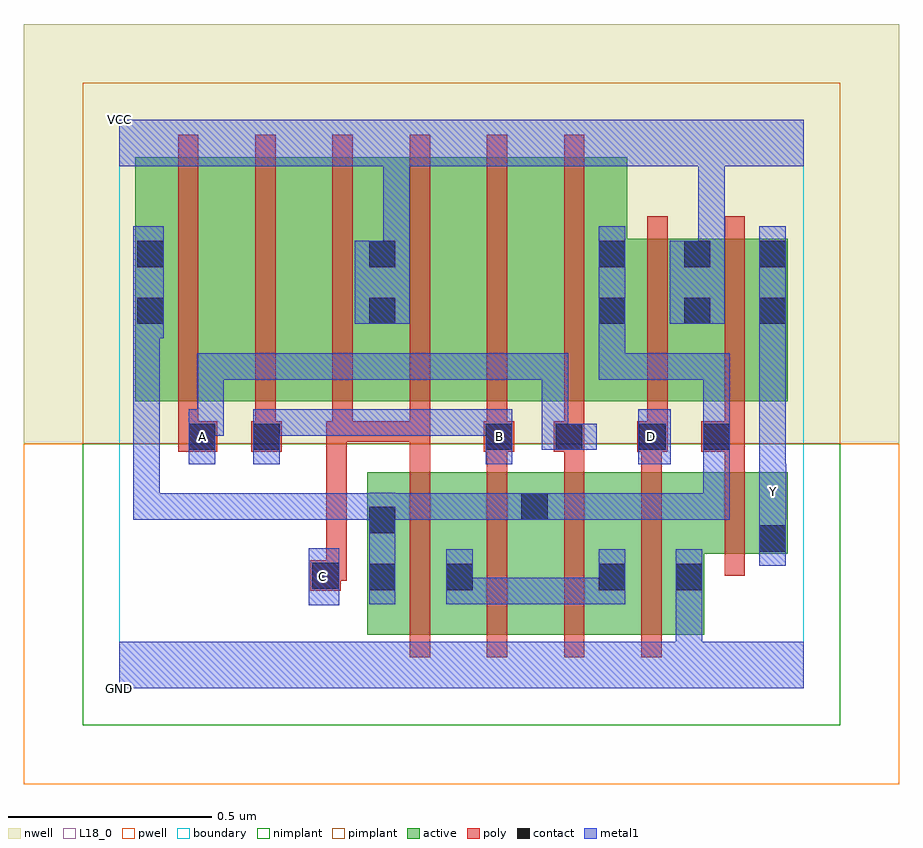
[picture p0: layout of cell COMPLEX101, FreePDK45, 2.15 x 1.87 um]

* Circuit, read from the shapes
.subckt COMPLEX101 A B C D GND VCC Y
M1 n1 C n2 VSUBS nfet w=0.4u l=0.05u
M2 n2 B n1 VSUBS nfet w=0.4u l=0.05u
M3 n1 A n2 VSUBS nfet w=0.4u l=0.05u
M4 GND D n1 VSUBS nfet w=0.4u l=0.05u
M5 Y n2 GND VSUBS nfet w=0.2u l=0.05u
M6 n3 A n2 n4 pfet w=0.6u l=0.05u
M7 n5 B n3 n4 pfet w=0.6u l=0.05u
M8 VCC C n5 n4 pfet w=0.6u l=0.05u
M9 n6 C VCC n4 pfet w=0.6u l=0.05u
M10 n7 B n6 n4 pfet w=0.6u l=0.05u
M11 n2 A n7 n4 pfet w=0.6u l=0.05u
M12 VCC D n2 n4 pfet w=0.4u l=0.05u
M13 Y n2 VCC n4 pfet w=0.4u l=0.05u
.ends

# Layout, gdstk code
import gdstk
lib = gdstk.Library(unit=1e-6, precision=1e-09)
def R(c, l, rs):  # rectangles x0, y0, x1, y1
    for r in rs: c.add(gdstk.rectangle(r[:2], r[2:], *l))
def A(c, l, x, y, w, h, nx, ny, dx, dy):  # array of equal rectangles
    R(c, l, [(x+i*dx, y+j*dy, x+i*dx+w, y+j*dy+h) for i in range(nx) for j in range(ny)])
active = (1, 0)
pwell = (2, 0)
nwell = (3, 0)
nimplant = (4, 0)
pimplant = (5, 0)
poly = (9, 0)
contact = (10, 0)
metal1 = (11, 0)
L18_0 = (18, 0)
boundary = (235, 0)

complex101 = lib.new_cell('COMPLEX101')
R(complex101, active, [(0.61,0.132,0.875,0.532), (0.8,0.132,1.06,0.532), (0.985,0.132,1.25,0.532), (1.175,0.132,1.44,0.532), (0.61,0.147,0.685,0.532), (0.8,0.147,0.875,0.492), (0.985,0.147,1.06,0.492), (1.175,0.147,1.25,0.492), (1.365,0.237,1.44,0.397), (1.365,0.332,1.645,0.532), (1.57,0.332,1.645,0.532), (0.04,0.707,0.265,1.307), (0.04,0.707,0.145,1.2), (0.265,0.707,0.455,1.307), (0.455,0.707,0.685,1.307), (0.61,0.707,0.835,1.307), (0.61,0.707,0.685,1.257), (0.835,0.707,1.025,1.307), (1.025,0.707,1.25,1.307), (1.175,0.707,1.46,1.107), (1.175,0.707,1.25,1.2), (1.385,0.707,1.645,1.107), (1.57,0.707,1.645,1.107), (1.385,0.802,1.46,1.107)])
R(complex101, pwell, [(-0.235,-0.235,1.92,0.602)])
R(complex101, nwell, [(-0.235,0.602,1.92,1.635)])
R(complex101, nimplant, [(-0.09,-0.09,1.775,0.602)])
R(complex101, pimplant, [(-0.09,0.602,1.775,1.49)])
A(complex101, poly, 0.715, 0.077, 0.05, 0.51, 4, 1, 0.19, 0)
A(complex101, poly, 0.905, 0.537, 0.05, 0.095, 3, 1, 0.19, 0)
A(complex101, poly, 0.145, 0.607, 0.05, 0.095, 6, 1, 0.19, 0)
A(complex101, poly, 0.145, 0.652, 0.05, 0.71, 6, 1, 0.19, 0)
R(complex101, poly, [(0.47,0.24,0.545,0.315), (0.495,0.265,0.545,0.315), (0.495,0.265,0.56,0.315), (0.51,0.265,0.56,0.657), (1.49,0.277,1.54,0.587), (0.715,0.537,0.765,0.657), (1.49,0.537,1.54,0.632), (0.145,0.582,0.242,0.657), (0.325,0.582,0.4,0.657), (0.897,0.582,0.972,0.657), (1.07,0.582,1.145,0.657), (1.275,0.582,1.35,0.657), (1.432,0.582,1.54,0.657), (0.51,0.607,0.575,0.657), (0.525,0.607,0.765,0.657), (0.525,0.607,0.575,0.657), (0.525,0.607,0.575,0.657), (0.715,0.607,0.765,0.657), (1.3,0.607,1.35,0.702), (1.49,0.607,1.54,0.702), (1.3,0.652,1.35,1.162), (1.49,0.652,1.54,1.162)])
R(complex101, contact, [(0.615,0.242,0.68,0.307), (0.805,0.242,0.87,0.307), (1.18,0.242,1.245,0.307), (1.37,0.242,1.435,0.307), (0.475,0.245,0.54,0.31), (1.575,0.337,1.64,0.402), (0.615,0.382,0.68,0.447), (0.99,0.415,1.055,0.48), (0.172,0.587,0.237,0.652), (0.33,0.587,0.395,0.652), (0.902,0.587,0.967,0.652), (1.075,0.587,1.14,0.652), (1.28,0.587,1.345,0.652), (1.437,0.587,1.502,0.652), (0.045,0.897,0.11,0.962), (0.615,0.897,0.68,0.962), (1.18,0.897,1.245,0.962), (1.39,0.897,1.455,0.962), (1.575,0.897,1.64,0.962), (0.045,1.037,0.11,1.102), (0.615,1.037,0.68,1.102), (1.18,1.037,1.245,1.102), (1.39,1.037,1.455,1.102), (1.575,1.037,1.64,1.102)])
R(complex101, metal1, [(0,0,1.685,0.115), (1.37,0.05,1.435,0.272), (0.467,0.205,0.542,0.345), (0.615,0.207,0.68,0.482), (0.805,0.207,0.87,0.342), (0.805,0.207,0.967,0.272), (0.902,0.207,0.967,0.272), (0.902,0.207,1.105,0.272), (1.04,0.207,1.105,0.272), (1.04,0.207,1.105,0.272), (1.04,0.207,1.105,0.272), (1.04,0.207,1.245,0.272), (1.18,0.207,1.245,0.342), (1.37,0.207,1.435,0.342), (1.575,0.302,1.64,0.437), (1.575,0.372,1.64,0.482), (0.035,0.415,0.1,0.48), (0.035,0.415,0.257,0.48), (0.035,0.415,0.1,0.927), (0.192,0.415,0.257,0.48), (0.192,0.415,0.257,0.48), (0.192,0.415,0.257,0.48), (0.192,0.415,0.395,0.48), (0.33,0.415,0.395,0.48), (0.33,0.415,0.395,0.48), (0.33,0.415,0.395,0.48), (0.33,0.415,0.68,0.48), (0.615,0.415,0.68,0.48), (0.615,0.415,0.68,0.48), (0.615,0.415,0.817,0.48), (0.752,0.415,0.817,0.48), (0.752,0.415,0.817,0.48), (0.752,0.415,0.817,0.48), (0.752,0.415,0.967,0.48), (0.902,0.415,0.967,0.48), (0.902,0.415,1.02,0.48), (0.955,0.415,1.105,0.48), (1.04,0.415,1.105,0.48), (1.04,0.415,1.105,0.48), (1.04,0.415,1.282,0.48), (1.217,0.415,1.282,0.48), (1.217,0.415,1.282,0.48), (1.217,0.415,1.282,0.48), (1.217,0.415,1.502,0.48), (1.437,0.415,1.502,0.617), (1.575,0.417,1.642,0.552), (1.575,0.487,1.64,0.927), (0.172,0.552,0.237,0.687), (0.33,0.552,0.395,0.687), (0.902,0.552,0.967,0.687), (1.277,0.552,1.357,0.687), (1.437,0.552,1.502,0.687), (1.437,0.552,1.502,0.617), (1.437,0.552,1.502,0.617), (1.437,0.552,1.502,0.617), (1.437,0.552,1.502,0.825), (1.04,0.587,1.105,0.652), (1.04,0.587,1.105,0.652), (1.04,0.587,1.175,0.652), (1.04,0.587,1.105,0.825), (0.172,0.622,0.257,0.687), (0.192,0.622,0.257,0.687), (0.192,0.622,0.257,0.825), (0.33,0.622,0.507,0.687), (0.442,0.622,0.507,0.687), (0.442,0.622,0.532,0.687), (0.467,0.622,0.532,0.687), (0.467,0.622,0.645,0.687), (0.58,0.622,0.645,0.687), (0.58,0.622,0.83,0.687), (0.765,0.622,0.83,0.687), (0.765,0.622,0.83,0.687), (0.765,0.622,0.83,0.687), (0.765,0.622,0.967,0.687), (0.192,0.76,0.257,0.825), (0.192,0.76,0.395,0.825), (0.33,0.76,0.395,0.825), (0.33,0.76,0.395,0.825), (0.33,0.76,0.395,0.825), (0.33,0.76,0.68,0.825), (0.615,0.76,0.68,0.825), (0.615,0.76,0.68,0.825), (0.615,0.76,0.68,0.825), (0.615,0.76,0.817,0.825), (0.752,0.76,0.817,0.825), (0.752,0.76,0.817,0.825), (0.752,0.76,0.817,0.825), (0.752,0.76,0.967,0.825), (0.902,0.76,0.967,0.825), (0.902,0.76,1.105,0.825), (1.04,0.76,1.105,0.825), (1.18,0.76,1.502,0.825), (1.18,0.76,1.245,0.927), (1.437,0.76,1.502,0.825), (0.035,0.862,0.1,0.927), (0.035,0.862,0.1,0.927), (0.035,0.862,0.11,1.137), (1.18,0.862,1.245,1.137), (1.18,0.862,1.245,0.927), (1.575,0.862,1.64,1.137), (0.58,0.897,0.715,1.102), (1.355,0.897,1.49,1.102), (0.65,1.037,0.715,1.35), (1.425,1.037,1.49,1.35), (0,1.285,1.685,1.4), (1.425,1.285,1.49,1.35), (1.425,1.285,1.49,1.35)])
R(complex101, L18_0, [(0,0,1.685,0.115), (1.37,0.05,1.435,0.272), (0.467,0.205,0.542,0.345), (1.37,0.207,1.435,0.342), (0.467,0.242,0.532,0.307), (1.575,0.302,1.64,0.437), (1.575,0.372,1.64,0.482), (1.575,0.417,1.642,0.552), (1.577,0.452,1.642,0.517), (1.575,0.487,1.64,0.927), (0.172,0.552,0.237,0.687), (0.33,0.552,0.395,0.687), (0.902,0.552,0.967,0.687), (1.277,0.552,1.357,0.687), (0.172,0.587,0.237,0.652), (0.902,0.587,0.967,0.652), (1.04,0.587,1.105,0.652), (1.04,0.587,1.105,0.652), (1.04,0.587,1.105,0.825), (1.04,0.587,1.175,0.652), (1.277,0.587,1.342,0.652), (0.172,0.622,0.257,0.687), (0.192,0.622,0.257,0.687), (0.192,0.622,0.257,0.825), (0.33,0.622,0.507,0.687), (0.442,0.622,0.507,0.687), (0.442,0.622,0.532,0.687), (0.467,0.622,0.532,0.687), (0.467,0.622,0.645,0.687), (0.58,0.622,0.645,0.687), (0.58,0.622,0.83,0.687), (0.765,0.622,0.83,0.687), (0.765,0.622,0.83,0.687), (0.765,0.622,0.83,0.687), (0.765,0.622,0.967,0.687), (0.192,0.76,0.257,0.825), (0.192,0.76,0.395,0.825), (0.33,0.76,0.395,0.825), (0.33,0.76,0.395,0.825), (0.33,0.76,0.395,0.825), (0.33,0.76,0.68,0.825), (0.615,0.76,0.68,0.825), (0.615,0.76,0.68,0.825), (0.615,0.76,0.68,0.825), (0.615,0.76,0.817,0.825), (0.752,0.76,0.817,0.825), (0.752,0.76,0.817,0.825), (0.752,0.76,0.817,0.825), (0.752,0.76,0.967,0.825), (0.902,0.76,0.967,0.825), (0.902,0.76,1.105,0.825), (1.04,0.76,1.105,0.825), (1.575,0.862,1.64,1.137), (0.58,0.897,0.715,1.102), (1.355,0.897,1.49,1.102), (0.65,1.037,0.715,1.35), (1.425,1.037,1.49,1.35), (0,1.285,1.685,1.4), (1.425,1.285,1.49,1.35), (1.425,1.285,1.49,1.35)])
R(complex101, boundary, [(0,0,1.685,1.4)])
complex101.add(gdstk.Label('A', (0.205,0.62), layer=11, texttype=0))
complex101.add(gdstk.Label('B', (0.935,0.62), layer=11, texttype=0))
complex101.add(gdstk.Label('C', (0.5,0.275), layer=11, texttype=0))
complex101.add(gdstk.Label('D', (1.31,0.62), layer=11, texttype=0))
complex101.add(gdstk.Label('Y', (1.61,0.485), layer=11, texttype=0))
complex101.add(gdstk.Label('VCC', (0,1.4), layer=11, texttype=0))
complex101.add(gdstk.Label('GND', (0,0), layer=11, texttype=0))

lib.write_gds('COMPLEX101.gds')
